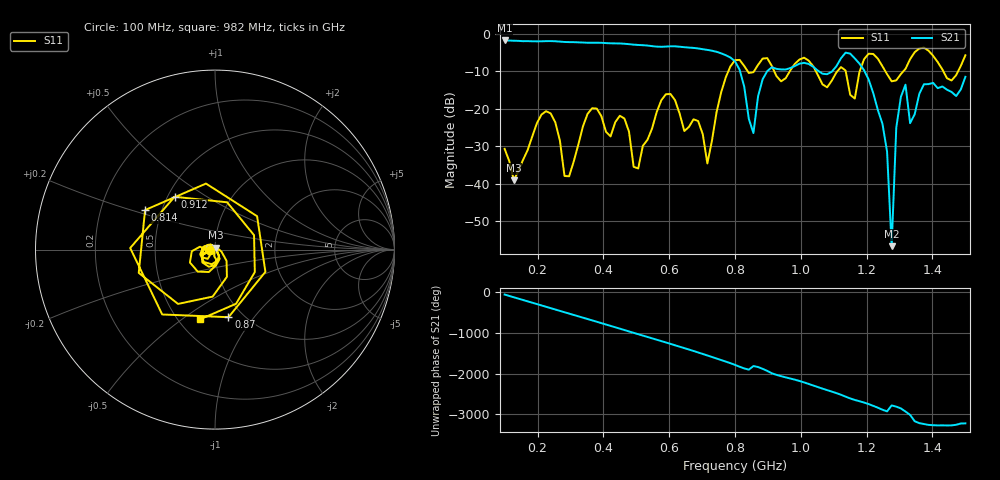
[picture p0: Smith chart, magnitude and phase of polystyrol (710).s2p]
! NanoVNA-App
! Date: 2025-09-25 15:35:24
! Start: 100MHz Stop: 1,5GHz Points: 101
! S-Parameter data: F S11 S21 S12 S22
# Hz S RI R 50
!  Frequency  S11_Real  S11_Imag  S21_Real  S21_Imag  S12_Real  S12_Imag  S22_Real  S22_Imag
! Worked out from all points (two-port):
!   101 points, 100 MHz to 1.5 GHz, reference 50 ohm
!   highest |S21| = -1.80 dB at 100 MHz (marker M1); lowest = -56.7 dB at 1.276 GHz (marker M2)
!   |S21| within 3 dB of the highest: start of sweep to 742.9 MHz
!   lowest |S11| = -39.1 dB at 128 MHz (marker M3), VSWR 1.02, Z = 50.3 + j1.06 ohm
!   |S11| at or under -10 dB: start of sweep to 779.9 MHz; 1.046 GHz to 1.111 GHz (65.62 MHz wide, 6.09 % of centre); 1.257 GHz to 1.312 GHz (55.06 MHz wide, 4.29 % of centre) (the widest 3 of 7)
!   S12 and S22 are empty: the file has one direction only
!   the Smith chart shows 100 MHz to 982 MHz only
!   S11 on the Smith chart (normalised r, x): 100 MHz: 0.94, -0.01; 814 MHz: 0.40, +0.22; 870 MHz: 0.85, -0.76; 912 MHz: 0.54, +0.37; 982 MHz: 0.63, -0.59
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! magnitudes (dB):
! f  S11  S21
! 100 MHz  -30.7  -1.8
! 128 MHz  -39.1  -1.9
! 212 MHz  -21.6  -2.0
! 282 MHz  -37.9  -2.2
! 338 MHz  -24.7  -2.3
! 506 MHz  -35.9  -3.0
! 576 MHz  -17.8  -3.5
! 716 MHz  -34.6  -4.3
! 800 MHz  -7.0  -7.4
! 814 MHz  -7.0  -9.6
! 856 MHz  -10.3  -26.5
! 870 MHz  -8.3  -16.7
! 912 MHz  -8.6  -8.9
! 982 MHz  -8.0  -8.6
! 1.038 GHz  -8.7  -8.8
! 1.164 GHz  -17.3  -6.6
! 1.206 GHz  -5.3  -12.2
! 1.262 GHz  -10.8  -31.4
! 1.276 GHz  -12.7  -56.7
! 1.29 GHz  -12.4  -25.1
! 1.318 GHz  -9.4  -13.6
! 1.5 GHz  -5.7  -11.5
